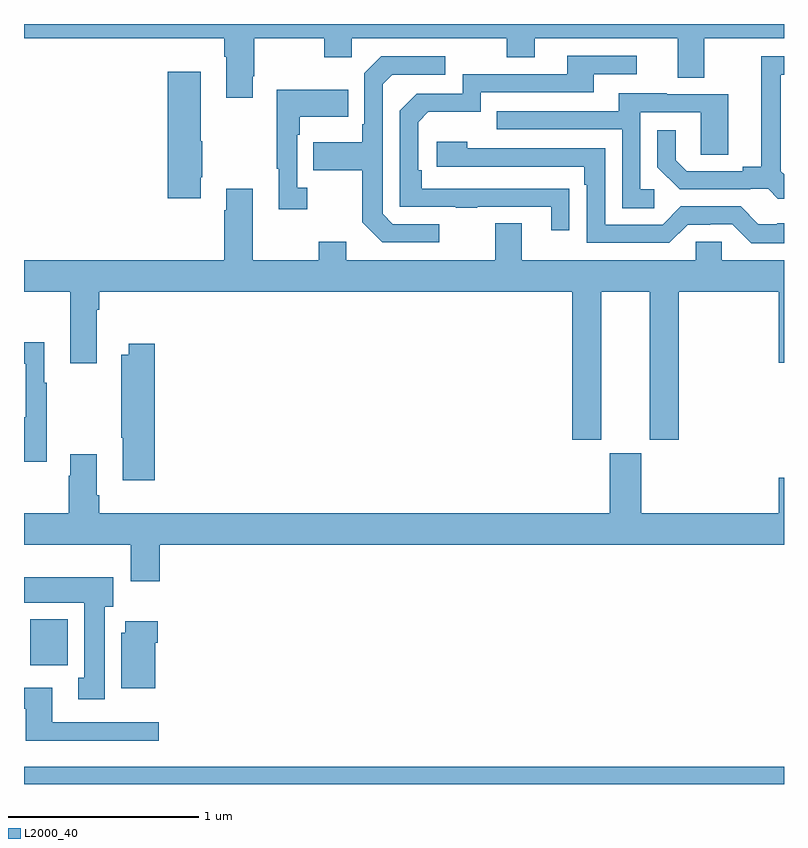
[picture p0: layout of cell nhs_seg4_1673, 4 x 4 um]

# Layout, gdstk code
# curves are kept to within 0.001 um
import gdstk
lib = gdstk.Library(unit=1e-6, precision=1e-09)
def R(c, l, rs):  # rectangles x0, y0, x1, y1
    for r in rs: c.add(gdstk.rectangle(r[:2], r[2:], *l))
def P(c, l, *ps):  # polygons
    for p in ps: c.add(gdstk.Polygon(p, *l))
L2000_40 = (2000, 40)

nhs_seg4_1673 = lib.new_cell('nhs_seg4_1673')
R(nhs_seg4_1673, L2000_40, [(197,788.9,201,788.992), (197.033,789.524,197.23,789.766)])
P(nhs_seg4_1673, L2000_40, [(198.205,792.625),(198.213,792.625),(198.213,792.824),(198.58,792.824),(198.58,792.725),(198.726,792.725),(198.726,792.824),(199.54,792.824),(199.54,792.725),(199.687,792.725),(199.687,792.824),(200.441,792.824),(200.441,792.616),(200.581,792.616),(200.581,792.824),(201,792.824),(201,792.9),(197,792.9),(197,792.824),(198.053,792.824),(198.053,792.728),(198.065,792.728),(198.065,792.513),(198.205,792.513)],
  [(199.871,792.032),(199.094,792.033),(199.094,792.13),(199.074,792.13),(199.074,792.384),(199.127,792.437),(199.404,792.437),(199.404,792.54),(199.999,792.54),(199.999,792.636),(200.224,792.636),(200.224,792.732),(199.859,792.732),(199.859,792.636),(199.308,792.636),(199.308,792.534),(199.068,792.534),(198.978,792.444),(198.978,791.937),(199.273,791.937),(199.273,791.932),(199.385,791.932),(199.385,791.937),(199.775,791.937),(199.775,791.814),(199.871,791.814)],
  [(201,792.108),(200.983,792.125),(200.983,792.633),(201,792.633),(201,792.729),(200.879,792.729),(200.879,792.149),(200.783,792.149),(200.783,792.126),(200.488,792.126),(200.431,792.183),(200.431,792.34),(200.334,792.34),(200.334,792.146),(200.45,792.03),(200.822,792.03),(200.822,792.033),(200.916,792.033),(200.968,791.981),(201,791.981)],
  [(199.186,791.847),(198.942,791.847),(198.888,791.901),(198.888,792.582),(198.939,792.633),(199.216,792.633),(199.216,792.729),(198.879,792.729),(198.792,792.642),(198.792,792.373),(198.78,792.373),(198.78,792.277),(198.523,792.277),(198.523,792.13),(198.78,792.13),(198.78,791.857),(198.885,791.751),(199.186,791.751)],
  [(197.929,792.094),(197.937,792.094),(197.937,792.283),(197.929,792.283),(197.929,792.649),(197.756,792.649),(197.756,791.982),(197.929,791.982)],
  [(198.49,792.038),(198.438,792.038),(198.438,792.317),(198.451,792.317),(198.451,792.413),(198.707,792.413),(198.707,792.553),(198.33,792.553),(198.33,792.137),(198.341,792.137),(198.341,791.925),(198.49,791.925)],
  [(200.317,792.03),(200.244,792.03),(200.244,792.435),(200.562,792.435),(200.562,792.211),(200.707,792.211),(200.707,792.531),(200.383,792.531),(200.383,792.535),(200.129,792.535),(200.129,792.441),(199.489,792.441),(199.489,792.345),(200.148,792.345),(200.148,791.929),(200.317,791.929)],
  [(201,791.851),(200.965,791.851),(200.965,791.847),(200.865,791.847),(200.772,791.94),(200.457,791.94),(200.361,791.844),(200.058,791.844),(200.058,792.246),(199.334,792.246),(199.334,792.28),(199.173,792.28),(199.173,792.15),(199.949,792.15),(199.949,792.053),(199.962,792.053),(199.962,791.748),(200.397,791.748),(200.493,791.844),(200.612,791.844),(200.612,791.847),(200.727,791.847),(200.827,791.747),(201,791.747)],
  [(200.038,791.492),(200.294,791.492),(200.294,790.713),(200.447,790.713),(200.447,791.492),(200.972,791.492),(200.972,791.118),(201,791.118),(201,791.656),(200.673,791.656),(200.673,791.754),(200.535,791.754),(200.535,791.656),(199.621,791.656),(199.621,791.851),(199.481,791.851),(199.481,791.656),(198.697,791.656),(198.697,791.755),(198.55,791.755),(198.55,791.656),(198.205,791.656),(198.205,792.034),(198.065,792.034),(198.065,791.921),(198.053,791.921),(198.053,791.656),(197,791.656),(197,791.492),(197.243,791.492),(197.243,791.115),(197.383,791.115),(197.383,791.396),(197.396,791.396),(197.396,791.492),(199.886,791.492),(199.886,790.713),(200.038,790.713)],
  [(197.119,791.011),(197.107,791.011),(197.107,791.224),(197,791.224),(197,791.111),(197.01,791.111),(197.01,790.831),(197,790.831),(197,790.595),(197.119,790.595)],
  [(197.687,791.218),(197.552,791.218),(197.552,791.158),(197.512,791.158),(197.512,790.723),(197.519,790.723),(197.519,790.5),(197.687,790.5)],
  [(197.714,790.16),(201,790.16),(201,790.513),(200.972,790.513),(200.972,790.324),(200.248,790.324),(200.248,790.641),(200.084,790.641),(200.084,790.324),(197.396,790.324),(197.396,790.42),(197.383,790.42),(197.383,790.636),(197.243,790.636),(197.243,790.523),(197.236,790.523),(197.236,790.324),(197,790.324),(197,790.16),(197.561,790.16),(197.561,789.966),(197.714,789.966)],
  [(197.425,789.834),(197.47,789.834),(197.47,789.988),(197.001,789.988),(197.001,789.854),(197.318,789.854),(197.318,789.458),(197.285,789.458),(197.285,789.345),(197.425,789.345)],
  [(197.692,789.644),(197.705,789.644),(197.705,789.757),(197.534,789.757),(197.534,789.696),(197.513,789.696),(197.513,789.404),(197.692,789.404)],
  [(197.71,789.225),(197.149,789.225),(197.149,789.406),(197,789.406),(197,789.297),(197.009,789.297),(197.009,789.128),(197.71,789.128)])

lib.write_gds('nhs_seg4_1673.gds')
